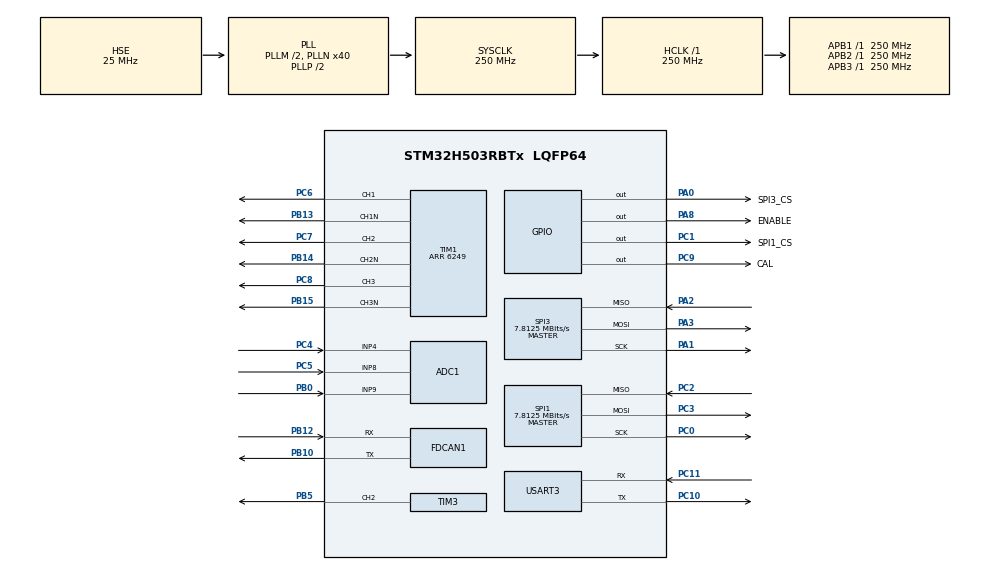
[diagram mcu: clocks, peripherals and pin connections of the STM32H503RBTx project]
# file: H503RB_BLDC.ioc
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ADC1.Channel-1\#ChannelRegularConversion=ADC_CHANNEL_4
ADC1.Channel-2\#ChannelRegularConversion=ADC_CHANNEL_8
ADC1.Channel-3\#ChannelRegularConversion=ADC_CHANNEL_9
ADC1.DMAContinuousRequests=ENABLE
ADC1.ExternalTrigConv=ADC_EXTERNALTRIG_T1_TRGO2
ADC1.MonitoredBy-1\#ChannelRegularConversion=__NULL
ADC1.MonitoredBy-2\#ChannelRegularConversion=__NULL
ADC1.MonitoredBy-3\#ChannelRegularConversion=__NULL
ADC1.NbrOfConversion=3
ADC1.NbrOfConversionFlag=1
ADC1.OffsetNumber-1\#ChannelRegularConversion=ADC_OFFSET_NONE
ADC1.OffsetNumber-2\#ChannelRegularConversion=ADC_OFFSET_NONE
ADC1.OffsetNumber-3\#ChannelRegularConversion=ADC_OFFSET_NONE
ADC1.Rank-1\#ChannelRegularConversion=1
ADC1.Rank-2\#ChannelRegularConversion=2
ADC1.Rank-3\#ChannelRegularConversion=3
ADC1.SamplingTime-1\#ChannelRegularConversion=ADC_SAMPLETIME_12CYCLES_5
ADC1.SamplingTime-2\#ChannelRegularConversion=ADC_SAMPLETIME_12CYCLES_5
ADC1.SamplingTime-3\#ChannelRegularConversion=ADC_SAMPLETIME_12CYCLES_5
ADC1.master=1
BOOTPATH.BootPathName=LEGACY
BOOTPATH.UserSelectedBootPath=LEGACY
CORTEX_M33_NS.Number-Cortex_Memory_Protection_Unit_Region0_OTP_RO_AREAS_Settings=MPU_REGION_NUMBER0
CORTEX_M33_NS.default_mode_Activation=1
FDCAN1.AutoRetransmission=ENABLE
FDCAN1.CalculateBaudRateNominal=500000
FDCAN1.CalculateTimeBitNominal=2000
FDCAN1.CalculateTimeQuantumNominal=200.0
FDCAN1.DataPrescaler=5
FDCAN1.DataSyncJumpWidth=1
FDCAN1.DataTimeSeg1=8
FDCAN1.DataTimeSeg2=1
FDCAN1.FrameFormat=FDCAN_FRAME_FD_BRS
FDCAN1.NominalPrescaler=50
FDCAN1.NominalTimeSeg1=8
FDCAN1.ProtocolException=ENABLE
FDCAN1.StdFiltersNbr=1
GPDMA1.CIRCULARMODE_GPDMACH5=ENABLE
GPDMA1.DESTDATAWIDTH_GPDMACH4=DMA_DEST_DATAWIDTH_WORD
GPDMA1.DESTDATAWIDTH_GPDMACH5=DMA_DEST_DATAWIDTH_HALFWORD
GPDMA1.DESTINC_GPDMACH5=DMA_DINC_INCREMENTED
GPDMA1.DIRECTION_GPDMACH4=DMA_MEMORY_TO_PERIPH
GPDMA1.IPHANDLE_GPDMACH4-SIMPLEREQUEST_GPDMACH4=__NULL
GPDMA1.IPHANDLE_GPDMACH5-SIMPLEREQUEST_GPDMACH5=__NULL
GPDMA1.PRIORITY_GPDMACH4=DMA_LOW_PRIORITY_HIGH_WEIGHT
GPDMA1.PRIORITY_LL_CIRCULAR_GPDMACH5=DMA_LOW_PRIORITY_HIGH_WEIGHT
GPDMA1.REQUEST_GPDMACH4=GPDMA1_REQUEST_TIM3_CH2
GPDMA1.REQUEST_GPDMACH5=GPDMA1_REQUEST_ADC1
GPDMA1.SRCDATAWIDTH_GPDMACH4=DMA_SRC_DATAWIDTH_WORD
GPDMA1.SRCDATAWIDTH_GPDMACH5=DMA_SRC_DATAWIDTH_HALFWORD
GPDMA1.SRCINC_GPDMACH4=DMA_SINC_INCREMENTED
Mcu.Family=STM32H5
Mcu.Name=STM32H503RBTx
Mcu.Package=LQFP64
NVIC.FDCAN1_IT0_IRQn=true\:0\:0\:false\:false\:true\:true\:true\:true
NVIC.GPDMA1_Channel4_IRQn=true\:0\:0\:false\:false\:true\:false\:true\:true
NVIC.GPDMA1_Channel5_IRQn=true\:0\:0\:false\:false\:true\:false\:true\:true
NVIC.PriorityGroup=NVIC_PRIORITYGROUP_4
PA0.GPIO_Label=SPI3_CS
PA0.GPIO_PuPd=GPIO_PULLUP
PA0.PinState=GPIO_PIN_SET
PA0.Signal=GPIO_Output
PA1.Mode=Full_Duplex_Master
PA1.Signal=SPI3_SCK
PA13(JTMS/SWDIO).Mode=Serial_Wire
PA13(JTMS/SWDIO).Signal=DEBUG_JTMS-SWDIO
PA14(JTCK/SWCLK).Mode=Serial_Wire
PA14(JTCK/SWCLK).Signal=DEBUG_JTCK-SWCLK
PA2.GPIO_PuPd=GPIO_PULLUP
PA2.Mode=Full_Duplex_Master
PA2.Signal=SPI3_MISO
PA3.GPIO_PuPd=GPIO_PULLUP
PA3.Mode=Full_Duplex_Master
PA3.Signal=SPI3_MOSI
PA8.GPIO_Label=ENABLE
PA8.Signal=GPIO_Output
PB0.Signal=ADCx_INP9
PB10.Mode=FDCAN_Activate
PB10.Signal=FDCAN1_TX
PB12.Mode=FDCAN_Activate
PB12.Signal=FDCAN1_RX
PB13.GPIO_Speed=GPIO_SPEED_FREQ_VERY_HIGH
PB13.Mode=PWM Generation1 CH1 CH1N
PB13.Signal=TIM1_CH1N
PB14.GPIO_Speed=GPIO_SPEED_FREQ_VERY_HIGH
PB14.Mode=PWM Generation2 CH2 CH2N
PB14.Signal=TIM1_CH2N
PB15.GPIO_Speed=GPIO_SPEED_FREQ_VERY_HIGH
PB15.Mode=PWM Generation3 CH3 CH3N
PB15.Signal=TIM1_CH3N
PB5.Signal=S_TIM3_CH2
PC0.Mode=Full_Duplex_Master
PC0.Signal=SPI1_SCK
PC1.GPIO_Label=SPI1_CS
PC1.GPIO_PuPd=GPIO_PULLUP
PC1.PinState=GPIO_PIN_SET
PC1.Signal=GPIO_Output
PC10.Mode=Asynchronous
PC10.Signal=USART3_TX
PC11.Mode=Asynchronous
PC11.Signal=USART3_RX
PC2.Mode=Full_Duplex_Master
PC2.Signal=SPI1_MISO
PC3.Mode=Full_Duplex_Master
PC3.Signal=SPI1_MOSI
PC4.Signal=ADCx_INP4
PC5.Signal=ADCx_INP8
PC6.GPIO_Speed=GPIO_SPEED_FREQ_VERY_HIGH
PC6.Signal=S_TIM1_CH1
PC7.GPIO_Speed=GPIO_SPEED_FREQ_VERY_HIGH
PC7.Signal=S_TIM1_CH2
PC8.GPIO_Speed=GPIO_SPEED_FREQ_VERY_HIGH
PC8.Signal=S_TIM1_CH3
PC9.GPIO_Label=CAL
PC9.Signal=GPIO_Output
PH0-OSC_IN(PH0).Mode=HSE-External-Oscillator
PH0-OSC_IN(PH0).Signal=RCC_OSC_IN
PH1-OSC_OUT(PH1).Mode=HSE-External-Oscillator
PH1-OSC_OUT(PH1).Signal=RCC_OSC_OUT
ProjectManager.HeapSize=0x200
ProjectManager.StackSize=0x400
ProjectManager.TargetToolchain=CMake
RCC.ADCFreq_Value=250000000
RCC.AHBFreq_Value=250000000
RCC.APB1Freq_Value=250000000
RCC.APB1TimFreq_Value=250000000
RCC.APB2Freq_Value=250000000
RCC.APB2TimFreq_Value=250000000
RCC.APB3Freq_Value=250000000
RCC.CSI_VALUE=4000000
RCC.CortexFreq_Value=250000000
RCC.EPOD_VALUE=25000000
RCC.FDCANClockSelection=RCC_FDCANCLKSOURCE_PLL1Q
RCC.HCLKFreq_Value=250000000
RCC.HSE_VALUE=25000000
RCC.HSI48_VALUE=48000000
RCC.HSI_VALUE=64000000
RCC.LSE_VALUE=32768
RCC.LSIRC_VALUE=32000
RCC.PLL2FRACN=0
RCC.PLL2Source=RCC_PLL2_SOURCE_HSE
RCC.PLLFRACN=0
RCC.PLLM=2
RCC.PLLN=40
RCC.PLLSourceVirtual=RCC_PLL1_SOURCE_HSE
RCC.SYSCLKFreq_VALUE=250000000
RCC.SYSCLKSource=RCC_SYSCLKSOURCE_PLLCLK
RCC.USBFreq_Value=48000000
RCC.VCOOutputFreq_Value=500000000
SH.ADCx_INP4.0=ADC1_INP4,IN4-Single-Ended
SH.ADCx_INP8.0=ADC1_INP8,IN8-Single-Ended
SH.ADCx_INP9.0=ADC1_INP9,IN9-Single-Ended
SH.S_TIM1_CH1.0=TIM1_CH1,PWM Generation1 CH1 CH1N
SH.S_TIM1_CH2.0=TIM1_CH2,PWM Generation2 CH2 CH2N
SH.S_TIM1_CH3.0=TIM1_CH3,PWM Generation3 CH3 CH3N
SH.S_TIM3_CH2.0=TIM3_CH2,PWM Generation2 CH2
SPI1.BaudRatePrescaler=SPI_BAUDRATEPRESCALER_32
SPI1.CLKPhase=SPI_PHASE_2EDGE
SPI1.CalculateBaudRate=7.8125 MBits/s
SPI1.DataSize=SPI_DATASIZE_16BIT
SPI1.Direction=SPI_DIRECTION_2LINES
SPI1.Mode=SPI_MODE_MASTER
SPI1.VirtualType=VM_MASTER
SPI3.BaudRatePrescaler=SPI_BAUDRATEPRESCALER_32
SPI3.CLKPhase=SPI_PHASE_2EDGE
SPI3.CalculateBaudRate=7.8125 MBits/s
SPI3.DataSize=SPI_DATASIZE_16BIT
SPI3.Direction=SPI_DIRECTION_2LINES
SPI3.Mode=SPI_MODE_MASTER
SPI3.VirtualType=VM_MASTER
TIM1.AutoReloadPreload=TIM_AUTORELOAD_PRELOAD_ENABLE
TIM1.Channel-PWM\ Generation1\ CH1\ CH1N=TIM_CHANNEL_1
TIM1.Channel-PWM\ Generation2\ CH2\ CH2N=TIM_CHANNEL_2
TIM1.Channel-PWM\ Generation3\ CH3\ CH3N=TIM_CHANNEL_3
TIM1.Channel-PWM\ Generation4\ No\ Output=TIM_CHANNEL_4
TIM1.CounterMode=TIM_COUNTERMODE_CENTERALIGNED1
TIM1.DeadTime=63
TIM1.PeriodNoDither=6249
TIM1.PulseNoDither_4=6200
TIM1.TIM_MasterOutputTrigger2=TIM_TRGO2_OC4REF
TIM3.AutoReloadPreload=TIM_AUTORELOAD_PRELOAD_ENABLE
TIM3.Channel-PWM\ Generation2\ CH2=TIM_CHANNEL_2
TIM3.PeriodNoDither=311
USART3.VirtualMode-Asynchronous=VM_ASYNC
VP_BOOTPATH_VS_BOOTPATH.Mode=BP_Activate
VP_CORTEX_M33_NS_VS_Hclk.Mode=Hclk_Mode
VP_GPDMA1_VS_GPDMACH4.Mode=SIMPLEREQUEST_GPDMACH4
VP_GPDMA1_VS_GPDMACH5.Mode=SIMPLEREQUEST_GPDMACH5
VP_ICACHE_VS_ICACHE.Mode=DirectMappedCache
VP_MEMORYMAP_VS_MEMORYMAP.Mode=CurAppReg
VP_PWR_VS_LPOM.Mode=PowerOptimisation
VP_PWR_VS_SECSignals.Mode=Security/Privilege
VP_TIM1_VS_no_output4.Mode=PWM Generation4 No Output
board=custom

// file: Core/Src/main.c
/* USER CODE BEGIN Header */
/**
  ******************************************************************************
  * @file           : main.c
  * @brief          : Main program body
  ******************************************************************************
  * @attention
  *
  * Copyright (c) 2026 STMicroelectronics.
  * All rights reserved.
  *
  * This software is licensed under terms that can be found in the LICENSE file
  * in the root directory of this software component.
  * If no LICENSE file comes with this software, it is provided AS-IS.
  *
  ******************************************************************************
  */
/* USER CODE END Header */
#include "main.h"
#include "adc.h"
#include "fdcan.h"
#include "gpdma.h"
#include "icache.h"
#include "spi.h"
#include "tim.h"
#include "usart.h"
#include "gpio.h"

/* USER CODE BEGIN Includes */
#include "ws2812b.h"
#include "SEGGER_RTT.h"
#include "as5047p.h"
#include "as5047p_port.h"
#include "drv8323rs.h"
#include "drv8323rs_current.h"
#include "motor_can.h"
#include "motor_foc.h"
#include "motor_encoder_align.h"
#include "motor_encoder_drive.h"
#include "motor_open_loop.h"
/* USER CODE END Includes */

/* USER CODE BEGIN PD */
#define MOTOR_POLE_PAIRS 14U
#define MOTOR_BUS_VOLTAGE 12.0f
#define MOTOR_ALIGN_VOLTAGE 1.5f
#define MOTOR_MODULATION_LIMIT 0.80f
#define MOTOR_ENCODER_ALIGN_TIME_MS 1000U
#define MOTOR_ENCODER_ALIGN_SAMPLE_COUNT 32U
#define MOTOR_ENCODER_ALIGN_ON_STARTUP 0U
#define MOTOR_ENCODER_FIXED_OFFSET_RAW 7052U
#define MOTOR_OPEN_LOOP_RUN_VOLTAGE_Q 4.0f
#define MOTOR_RUN_VOLTAGE_Q 2.0f
#define MOTOR_ELECTRICAL_SPEED_HZ 5.0f
#define MOTOR_ENCODER_DIRECTION 1
#define MOTOR_POSITION_STEP_MODE 0U
#define MOTOR_POSITION_START_DEG 0
#define MOTOR_POSITION_STEP_DEG 10
#define MOTOR_POSITION_REV_MDEG 360000
#define MOTOR_POSITION_STEP_SETTLE_MDEG 500
#define MOTOR_POSITION_STEP_RESET_MDEG 2000
#define MOTOR_POSITION_STEP_HOLD_MS 300U
#define MOTOR_CONTROL_ADC_TICK_S 0.00005f
#define DRV8323RS_CURRENT_VREF_MV 3300U
#define DRV8323RS_CURRENT_SHUNT_OHM 0.010f
#define DRV8323RS_CURRENT_CSA_GAIN_VV 10.0f
#define DRV8323RS_CURRENT_CALIBRATION_SAMPLES 256U

/* USER CODE END PD */

/* USER CODE BEGIN PV */
as5047p_handle_t as5047p;
uint32_t encoder_electrical_mdeg = 0;
drv8323rs_current_amps_t phase_current_amps = {0.0f, 0.0f, 0.0f};
drv8323rs_t drv8323rs;
drv8323rs_current_t drv8323rs_current;
volatile uint16_t drv8323rs_current_dma_buffer[3] = {2048U, 2048U, 2048U};
motor_pwm_t motor_pwm;
motor_open_loop_t motor_open_loop;
motor_encoder_align_t motor_encoder_align;
motor_encoder_drive_t motor_encoder_drive;
volatile uint8_t motor_control_adc_sync_enabled = 0U;
volatile uint8_t motor_control_adc_tick_pending = 0U;
volatile uint32_t motor_control_adc_tick_count = 0U;
volatile uint32_t motor_control_adc_tick_overrun = 0U;
/* USER CODE END PV */

void SystemClock_Config(void);
static void MPU_Config(void);

/* USER CODE BEGIN 0 */
static int32_t AmpsToMilliamps(float amps)
{
  return (int32_t)((amps >= 0.0f) ? ((amps * 1000.0f) + 0.5f)
                                  : ((amps * 1000.0f) - 0.5f));
}

static int32_t RoundToNearestRevolutionMdeg(int32_t mdeg)
{
  if (mdeg >= 0) {
    return ((mdeg + (MOTOR_POSITION_REV_MDEG / 2)) /
            MOTOR_POSITION_REV_MDEG) *
           MOTOR_POSITION_REV_MDEG;
  }

  return ((mdeg - (MOTOR_POSITION_REV_MDEG / 2)) /
          MOTOR_POSITION_REV_MDEG) *
         MOTOR_POSITION_REV_MDEG;
}

/* USER CODE END 0 */

int main(void)
{

  /* MCU Configuration--------------------------------------------------------*/

  /* MPU Configuration--------------------------------------------------------*/
  MPU_Config();

  /* Reset of all peripherals, Initializes the Flash interface and the Systick. */
  HAL_Init();

  /* Configure the system clock */
  SystemClock_Config();

  /* Initialize all configured peripherals */
  MX_GPIO_Init();
  MX_GPDMA1_Init();
  MX_ICACHE_Init();
  MX_FDCAN1_Init();
  MX_TIM1_Init();
  MX_SPI1_Init();
  MX_USART3_UART_Init();
  MX_ADC1_Init();
  MX_TIM3_Init();
  MX_SPI3_Init();
  /* USER CODE BEGIN 2 */
  SEGGER_RTT_Init();
  WS2812B_Init(&htim3, TIM_CHANNEL_2);
  as5047p_port_init(&as5047p);

  if (drv8323rs_init(&drv8323rs,
                     &(drv8323rs_config_t){
                         .hspi = &hspi3,
                         .cs_port = SPI3_CS_GPIO_Port,
                         .cs_pin = SPI3_CS_Pin,
                         .enable_port = ENABLE_GPIO_Port,
                         .enable_pin = ENABLE_Pin,
                         .csa_gain = DRV8323RS_CSA_GAIN_10VV,
                         .sense_ocp_enable = 0U,
                     }) != HAL_OK) {
    uint16_t drv_regs[7] = {0};
    RTT_Log("[DRV8323RS] pins: CS=%u MISO=%u ENABLE=%u CAL=%u\n",
            (unsigned int)HAL_GPIO_ReadPin(SPI3_CS_GPIO_Port, SPI3_CS_Pin),
            (unsigned int)HAL_GPIO_ReadPin(GPIOA, GPIO_PIN_2),
            (unsigned int)HAL_GPIO_ReadPin(ENABLE_GPIO_Port, ENABLE_Pin),
            (unsigned int)HAL_GPIO_ReadPin(CAL_GPIO_Port, CAL_Pin));
    if (drv8323rs_dump_registers(&drv8323rs, drv_regs, 7U) == HAL_OK) {
      RTT_Log("[DRV8323RS] init failed step=%u hal=%d readback=0x%03X regs:"
              " 0=0x%03X 1=0x%03X 2=0x%03X 3=0x%03X 4=0x%03X 5=0x%03X 6=0x%03X\n",
              (unsigned int)drv8323rs.last_error_step,
              (int)drv8323rs.last_hal_status,
              (unsigned int)drv8323rs.last_readback,
              (unsigned int)drv_regs[0],
              (unsigned int)drv_regs[1],
              (unsigned int)drv_regs[2],
              (unsigned int)drv_regs[3],
              (unsigned int)drv_regs[4],
              (unsigned int)drv_regs[5],
              (unsigned int)drv_regs[6]);
    } else {
      RTT_Log("[DRV8323RS] init failed step=%u hal=%d readback=0x%03X dump failed\n",
              (unsigned int)drv8323rs.last_error_step,
              (int)drv8323rs.last_hal_status,
              (unsigned int)drv8323rs.last_readback);
    }
    while (1) {
      HAL_Delay(1000);
    }
  }

  WS2812B_PowerOnSelfTest(50, 120);

  if (motor_pwm_init(&motor_pwm,
                     &(motor_pwm_config_t){
                         .htim = &htim1,
                         .enable_port = ENABLE_GPIO_Port,
                         .enable_pin = ENABLE_Pin,
                         .bus_voltage = MOTOR_BUS_VOLTAGE,
                     }) != HAL_OK) {
    Error_Handler();
  }

  if (motor_open_loop_init(&motor_open_loop,
                           &(motor_open_loop_config_t){
                               .motor_pwm = &motor_pwm,
                               .bus_voltage = MOTOR_BUS_VOLTAGE,
                               .align_voltage = MOTOR_ALIGN_VOLTAGE,
                               .align_time_ms = 800U,
                               .voltage_q = MOTOR_OPEN_LOOP_RUN_VOLTAGE_Q,
                               .startup_speed_hz = 0.3f,
                               .ramp_time_ms = 1500U,
                               .electrical_speed_hz = 1.0f,
                               .modulation_limit = MOTOR_MODULATION_LIMIT,
                           }) != HAL_OK) {
    Error_Handler();
  }

  if (drv8323rs_current_init(
          &drv8323rs_current,
          &(drv8323rs_current_config_t){
              .hadc = &hadc1,
              .vref_mv = DRV8323RS_CURRENT_VREF_MV,
              .shunt_ohm = DRV8323RS_CURRENT_SHUNT_OHM,
              .csa_gain_vv = DRV8323RS_CURRENT_CSA_GAIN_VV,
              .calibration_samples = DRV8323RS_CURRENT_CALIBRATION_SAMPLES,
              .dma_buffer = drv8323rs_current_dma_buffer,
              .dma_buffer_length = 3U,
          }) != HAL_OK) {
    Error_Handler();
  }

  if (drv8323rs_current_start_dma(&drv8323rs_current) != HAL_OK) {
    Error_Handler();
  }

  if (HAL_TIM_PWM_Start(&htim1, TIM_CHANNEL_4) != HAL_OK) {
    Error_Handler();
  }

  HAL_Delay(5U);

  if (drv8323rs_current_calibrate_offsets(&drv8323rs_current) != HAL_OK) {
    Error_Handler();
  }
  {
    drv8323rs_current_raw_t offset_raw = {0U, 0U, 0U};

    if (drv8323rs_current_get_offsets(&drv8323rs_current, &offset_raw) ==
        HAL_OK) {
      RTT_Log("[CURRENT] offset raw=%u,%u,%u\n",
              (unsigned int)offset_raw.a,
              (unsigned int)offset_raw.b,
              (unsigned int)offset_raw.c);
    }
  }

  if (motor_encoder_align_init(
          &motor_encoder_align,
          &(motor_encoder_align_config_t){
              .encoder = &as5047p,
              .motor_pwm = &motor_pwm,
              .pole_pairs = MOTOR_POLE_PAIRS,
              .bus_voltage = MOTOR_BUS_VOLTAGE,
              .align_voltage = MOTOR_ALIGN_VOLTAGE,
              .modulation_limit = MOTOR_MODULATION_LIMIT,
              .align_time_ms = MOTOR_ENCODER_ALIGN_TIME_MS,
              .sample_count = MOTOR_ENCODER_ALIGN_SAMPLE_COUNT,
          }) != HAL_OK) {
    Error_Handler();
  }

  if (motor_encoder_drive_init(
          &motor_encoder_drive,
          &(motor_encoder_drive_config_t){
              .align = &motor_encoder_align,
              .voltage_q = MOTOR_RUN_VOLTAGE_Q,
              .electrical_speed_hz = MOTOR_ELECTRICAL_SPEED_HZ,
              .bus_voltage = MOTOR_BUS_VOLTAGE,
              .modulation_limit = MOTOR_MODULATION_LIMIT,
              .sensor_direction = MOTOR_ENCODER_DIRECTION,
          }) != HAL_OK) {
    Error_Handler();
  }

  if (MOTOR_ENCODER_ALIGN_ON_STARTUP != 0U) {
    uint16_t aligned_mech_raw = 0;

    if (motor_encoder_align_run(&motor_encoder_align, &aligned_mech_raw) !=
        HAL_OK) {
      RTT_Log("[ALIGN] failed, PWM stopped.\n");
      Error_Handler();
    }
    RTT_Log("[ALIGN] mech_raw=%u offset=%u\n",
            (unsigned int)aligned_mech_raw,
            (unsigned int)motor_encoder_align_get_offset_raw(
                &motor_encoder_align));
  } else {
    if (motor_encoder_align_set_offset_raw(&motor_encoder_align,
                                           MOTOR_ENCODER_FIXED_OFFSET_RAW) !=
        HAL_OK) {
      Error_Handler();
    }
    RTT_Log("[ALIGN] skipped fixed_offset=%u\n",
            (unsigned int)motor_encoder_align_get_offset_raw(
                &motor_encoder_align));
  }

  if (MOTOR_POSITION_STEP_MODE != 0U) {
    if (motor_encoder_drive_start(&motor_encoder_drive) != HAL_OK) {
      Error_Handler();
    }
    motor_encoder_drive_set_mode(&motor_encoder_drive,
                                 MOTOR_ENCODER_DRIVE_MODE_POSITION);
    if (motor_encoder_drive_set_position_target_mdeg(&motor_encoder_drive,
                                                     MOTOR_POSITION_START_DEG *
                                                         1000) !=
        HAL_OK) {
      Error_Handler();
    }
    RTT_Log("[POS] absolute step mode start=%ddeg step=%ddeg settle=%dmdeg\n",
            MOTOR_POSITION_START_DEG,
            MOTOR_POSITION_STEP_DEG,
            MOTOR_POSITION_STEP_SETTLE_MDEG);
  }
  if (motor_can_init(&hfdcan1) != HAL_OK) {
    RTT_Log("[CAN] init failed\n");
    Error_Handler();
  }
  RTT_Log("[CAN] FD ready cmd=0x%03X status=0x%03X\n",
          MOTOR_CAN_CMD_ID,
          MOTOR_CAN_STATUS_ID);

  motor_control_adc_tick_pending = 0U;
  motor_control_adc_tick_overrun = 0U;
  motor_control_adc_sync_enabled = 1U;

  HAL_GPIO_WritePin(ENABLE_GPIO_Port, ENABLE_Pin, GPIO_PIN_RESET);
  RTT_Log("[MOTOR] waiting for CAN command, PWM disabled\n");
  RTT_Log("[ANGLE] offset=%u\n",
          (unsigned int)motor_encoder_align_get_offset_raw(
              &motor_encoder_align));
  /* USER CODE END 2 */

  /* Infinite loop */
  /* USER CODE BEGIN WHILE */
  while (1)
  {
    static uint32_t last_log_ms = 0;
    static uint32_t last_control_adc_tick_count = 0U;
    static uint32_t position_step_settle_ms = 0U;
    static int32_t position_target_mdeg = MOTOR_POSITION_START_DEG * 1000;
    static uint8_t position_step_initialized = 0U;
    motor_foc_abc_t phase_current_foc = {0.0f, 0.0f, 0.0f};
    uint8_t phase_current_valid = 0U;
    uint32_t adc_tick_count = 0U;
    uint32_t adc_tick_overrun = 0U;
    uint32_t adc_tick_delta = 1U;
    float control_dt_s;

    if (motor_control_adc_tick_pending == 0U) {
      continue;
    }

    __disable_irq();
    motor_control_adc_tick_pending = 0U;
    adc_tick_count = motor_control_adc_tick_count;
    adc_tick_overrun = motor_control_adc_tick_overrun;
    __enable_irq();

    if (last_control_adc_tick_count != 0U) {
      adc_tick_delta = adc_tick_count - last_control_adc_tick_count;
      if (adc_tick_delta == 0U) {
        adc_tick_delta = 1U;
      }
    }
    last_control_adc_tick_count = adc_tick_count;
    control_dt_s = (float)adc_tick_delta * MOTOR_CONTROL_ADC_TICK_S;

    if (drv8323rs_current_read_amps(&drv8323rs_current,
                                    &phase_current_amps) == HAL_OK) {
      phase_current_foc.a = phase_current_amps.a;
      phase_current_foc.b = phase_current_amps.b;
      phase_current_foc.c = phase_current_amps.c;
      phase_current_valid = 1U;
    }

    motor_can_process(&motor_encoder_drive);
    if (motor_encoder_drive.started != 0U) {
      (void)motor_encoder_drive_update_with_current_dt(
          &motor_encoder_drive,
          (phase_current_valid != 0U) ? &phase_current_foc : NULL,
          control_dt_s);
    }

    if ((MOTOR_POSITION_STEP_MODE != 0U) && (motor_can_is_active() == 0U)) {
      int32_t position_mdeg =
          motor_encoder_drive_get_position_mdeg(&motor_encoder_drive);
      int32_t position_error_mdeg;
      uint32_t now_ms = HAL_GetTick();

      if (position_step_initialized == 0U) {
        position_target_mdeg = RoundToNearestRevolutionMdeg(position_mdeg);
        (void)motor_encoder_drive_set_position_target_mdeg(
            &motor_encoder_drive, position_target_mdeg);
        position_step_initialized = 1U;
        RTT_Log("[POS] align absolute zero target=%ldmdeg current=%ldmdeg\n",
                (long)position_target_mdeg,
                (long)position_mdeg);
      }

      position_error_mdeg = position_target_mdeg - position_mdeg;
      if (position_error_mdeg < 0) {
        position_error_mdeg = -position_error_mdeg;
      }

      if (position_error_mdeg <= MOTOR_POSITION_STEP_SETTLE_MDEG) {
        if (position_step_settle_ms == 0U) {
          position_step_settle_ms = now_ms;
        } else if ((now_ms - position_step_settle_ms) >=
                   MOTOR_POSITION_STEP_HOLD_MS) {
          position_target_mdeg += MOTOR_POSITION_STEP_DEG * 1000;
          position_step_settle_ms = 0U;
          (void)motor_encoder_drive_set_position_target_mdeg(
              &motor_encoder_drive, position_target_mdeg);
          RTT_Log("[POS] step target=%ldmdeg current=%ldmdeg err=%ldmdeg\n",
                  (long)position_target_mdeg,
                  (long)position_mdeg,
                  (long)position_error_mdeg);
        }
      } else if (position_error_mdeg > MOTOR_POSITION_STEP_RESET_MDEG) {
        position_step_settle_ms = 0U;
      }
    }

    if ((HAL_GetTick() - last_log_ms) >= 2000U) {
      int32_t ia_ma = 0;
      int32_t ib_ma = 0;
      int32_t ic_ma = 0;
      drv8323rs_current_raw_t current_raw = {0U, 0U, 0U};
      motor_foc_dq_t current_dq =
          motor_encoder_drive_get_current_dq(&motor_encoder_drive);
      int32_t id_ma = AmpsToMilliamps(current_dq.d);
      int32_t iq_ma = AmpsToMilliamps(current_dq.q);
      int32_t iq_ref_ma = AmpsToMilliamps(
          motor_encoder_drive_get_current_q_ref(&motor_encoder_drive));
      int32_t position_mdeg =
          motor_encoder_drive_get_position_mdeg(&motor_encoder_drive);
      int32_t position_target_log_mdeg =
          motor_encoder_drive_get_position_target_mdeg(&motor_encoder_drive);
      encoder_electrical_mdeg =
          motor_encoder_drive_get_electrical_mdeg(&motor_encoder_drive);

      last_log_ms = HAL_GetTick();
      if (phase_current_valid != 0U) {
        ia_ma = AmpsToMilliamps(phase_current_amps.a);
        ib_ma = AmpsToMilliamps(phase_current_amps.b);
        ic_ma = AmpsToMilliamps(phase_current_amps.c);
      }
      (void)drv8323rs_current_read_raw(&drv8323rs_current, &current_raw);

      RTT_Log("[FOC] t=%lu ov=%lu pos=%ld/%ld ele=%u.%03u spd=%.2f vq=%.2f "
              "adc=%u,%u,%u iq=%ld/%ld id=%ld ia=%ld,%ld,%ld\n",
              (unsigned long)adc_tick_count,
              (unsigned long)adc_tick_overrun,
              (long)position_mdeg,
              (long)position_target_log_mdeg,
              (unsigned int)(encoder_electrical_mdeg / 1000U),
              (unsigned int)(encoder_electrical_mdeg % 1000U),
              (double)motor_encoder_drive_get_measured_speed_hz(
                  &motor_encoder_drive),
              (double)motor_encoder_drive_get_voltage_q(&motor_encoder_drive),
              (unsigned int)current_raw.a,
              (unsigned int)current_raw.b,
              (unsigned int)current_raw.c,
              (long)iq_ref_ma,
              (long)iq_ma,
              (long)id_ma,
              (long)ia_ma,
              (long)ib_ma,
              (long)ic_ma);
    }

    /* USER CODE END WHILE */

  }
}

void SystemClock_Config(void)
{
  RCC_OscInitTypeDef RCC_OscInitStruct = {0};
  RCC_ClkInitTypeDef RCC_ClkInitStruct = {0};

  /** Configure the main internal regulator output voltage
  */
  __HAL_PWR_VOLTAGESCALING_CONFIG(PWR_REGULATOR_VOLTAGE_SCALE0);

  while(!__HAL_PWR_GET_FLAG(PWR_FLAG_VOSRDY)) {}

  /** Initializes the RCC Oscillators according to the specified parameters
  * in the RCC_OscInitTypeDef structure.
  */
  RCC_OscInitStruct.OscillatorType = RCC_OSCILLATORTYPE_HSE;
  RCC_OscInitStruct.HSEState = RCC_HSE_ON;
  RCC_OscInitStruct.PLL.PLLState = RCC_PLL_ON;
  RCC_OscInitStruct.PLL.PLLSource = RCC_PLL1_SOURCE_HSE;
  RCC_OscInitStruct.PLL.PLLM = 2;
  RCC_OscInitStruct.PLL.PLLN = 40;
  RCC_OscInitStruct.PLL.PLLP = 2;
  RCC_OscInitStruct.PLL.PLLQ = 2;
  RCC_OscInitStruct.PLL.PLLR = 2;
  RCC_OscInitStruct.PLL.PLLRGE = RCC_PLL1_VCIRANGE_3;
  RCC_OscInitStruct.PLL.PLLVCOSEL = RCC_PLL1_VCORANGE_WIDE;
  RCC_OscInitStruct.PLL.PLLFRACN = 0;
  if (HAL_RCC_OscConfig(&RCC_OscInitStruct) != HAL_OK)
  {
    Error_Handler();
  }

  /** Initializes the CPU, AHB and APB buses clocks
  */
  RCC_ClkInitStruct.ClockType = RCC_CLOCKTYPE_HCLK|RCC_CLOCKTYPE_SYSCLK
                              |RCC_CLOCKTYPE_PCLK1|RCC_CLOCKTYPE_PCLK2
                              |RCC_CLOCKTYPE_PCLK3;
  RCC_ClkInitStruct.SYSCLKSource = RCC_SYSCLKSOURCE_PLLCLK;
  RCC_ClkInitStruct.AHBCLKDivider = RCC_SYSCLK_DIV1;
  RCC_ClkInitStruct.APB1CLKDivider = RCC_HCLK_DIV1;
  RCC_ClkInitStruct.APB2CLKDivider = RCC_HCLK_DIV1;
  RCC_ClkInitStruct.APB3CLKDivider = RCC_HCLK_DIV1;

  if (HAL_RCC_ClockConfig(&RCC_ClkInitStruct, FLASH_LATENCY_5) != HAL_OK)
  {
    Error_Handler();
  }

  /** Configure the programming delay
  */
  __HAL_FLASH_SET_PROGRAM_DELAY(FLASH_PROGRAMMING_DELAY_2);
}

/* USER CODE BEGIN 4 */
void HAL_ADC_ConvCpltCallback(ADC_HandleTypeDef *hadc) {
  if ((hadc != NULL) && (hadc->Instance == ADC1) &&
      (motor_control_adc_sync_enabled != 0U)) {
    if (motor_control_adc_tick_pending != 0U) {
      motor_control_adc_tick_overrun++;
    }
    motor_control_adc_tick_pending = 1U;
    motor_control_adc_tick_count++;
  }
}

void HAL_TIM_PWM_PulseFinishedCallback(TIM_HandleTypeDef *htim) {
  WS2812B_TransferCompleteCallback(htim);
}
/* USER CODE END 4 */

 /* MPU Configuration */

void MPU_Config(void)
{
  MPU_Region_InitTypeDef MPU_InitStruct = {0};
  MPU_Attributes_InitTypeDef MPU_AttributesInit = {0};

  /* Disables the MPU */
  HAL_MPU_Disable();

  /** Initializes and configures the Region 0 and the memory to be protected
  */
  MPU_InitStruct.Enable = MPU_REGION_ENABLE;
  MPU_InitStruct.Number = MPU_REGION_NUMBER0;
  MPU_InitStruct.BaseAddress = 0x08FFF000;
  MPU_InitStruct.LimitAddress = 0x08FFFFFF;
  MPU_InitStruct.AttributesIndex = MPU_ATTRIBUTES_NUMBER0;
  MPU_InitStruct.AccessPermission = MPU_REGION_ALL_RO;
  MPU_InitStruct.DisableExec = MPU_INSTRUCTION_ACCESS_DISABLE;
  MPU_InitStruct.IsShareable = MPU_ACCESS_NOT_SHAREABLE;

  HAL_MPU_ConfigRegion(&MPU_InitStruct);

  /** Initializes and configures the Attribute 0 and the memory to be protected
  */
  MPU_AttributesInit.Number = MPU_ATTRIBUTES_NUMBER0;
  MPU_AttributesInit.Attributes = INNER_OUTER(MPU_NOT_CACHEABLE);

  HAL_MPU_ConfigMemoryAttributes(&MPU_AttributesInit);
  /* Enables the MPU */
  HAL_MPU_Enable(MPU_PRIVILEGED_DEFAULT);

}

void Error_Handler(void)
{
  __disable_irq();
  while (1)
  {
  }
}
